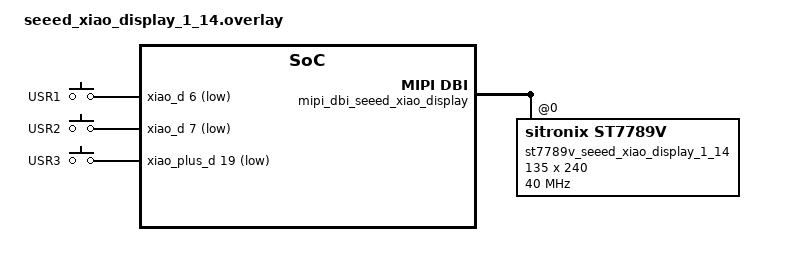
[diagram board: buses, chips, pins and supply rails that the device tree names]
/*
 * SPDX-FileCopyrightText: Copyright The Zephyr Project Contributors
 * SPDX-License-Identifier: Apache-2.0
 */

#include "seeed_xiao_display_gadgets.dtsi"

/ {
	chosen {
		zephyr,display = &st7789v_seeed_xiao_display_1_14;
	};

	aliases {
		sw0 = &usr1_seeed_xiao_display_1_14;
		sw1 = &usr2_seeed_xiao_display_1_14;
		sw2 = &usr3_seeed_xiao_display_1_14;
	};

	buttons_seeed_xiao_display_1_14: buttons {
		compatible = "gpio-keys";

		usr1_seeed_xiao_display_1_14: button-usr1 {
			gpios = <&xiao_d 6 (GPIO_PULL_UP | GPIO_ACTIVE_LOW)>;
			label = "USR1";
			zephyr,code = <INPUT_KEY_0>;
		};

		usr2_seeed_xiao_display_1_14: button-usr2 {
			gpios = <&xiao_d 7 (GPIO_PULL_UP | GPIO_ACTIVE_LOW)>;
			label = "USR2";
			zephyr,code = <INPUT_KEY_1>;
		};

		usr3_seeed_xiao_display_1_14: button-usr3 {
			gpios = <&xiao_plus_d 19 (GPIO_PULL_UP | GPIO_ACTIVE_LOW)>;
			label = "USR3";
			zephyr,code = <INPUT_KEY_2>;
		};
	};
};

&mipi_dbi_seeed_xiao_display {
	st7789v_seeed_xiao_display_1_14: st7789v@0 {
		compatible = "sitronix,st7789v";
		reg = <0>;
		mipi-max-frequency = <DT_FREQ_M(40)>;
		mipi-mode = "MIPI_DBI_MODE_SPI_4WIRE";
		width = <135>;
		height = <240>;
		x-offset = <52>;
		y-offset = <40>;
		mdac = <0x00>;
		pixel-format = <PANEL_PIXEL_FORMAT_RGB_565X>;
		porch-param = [0c 0c 00 33 33];
		gctrl = <0x35>;
		vcom = <0x28>;
		lcm = <0x0c>;
		vrhs = <0x10>;
		vdvs = <0x20>;
		pwctrl1-param = [a4 a1];
		pvgam-param = [d0 00 02 07 0a 28 32 44 42 06 0e 12 14 17];
		nvgam-param = [d0 00 02 07 0a 28 31 54 47 0e 1c 17 1b 1e];
		ram-param = [00 f0];
	};
};

/* Grove I2C connector */
zephyr_i2c: &xiao_i2c {};
